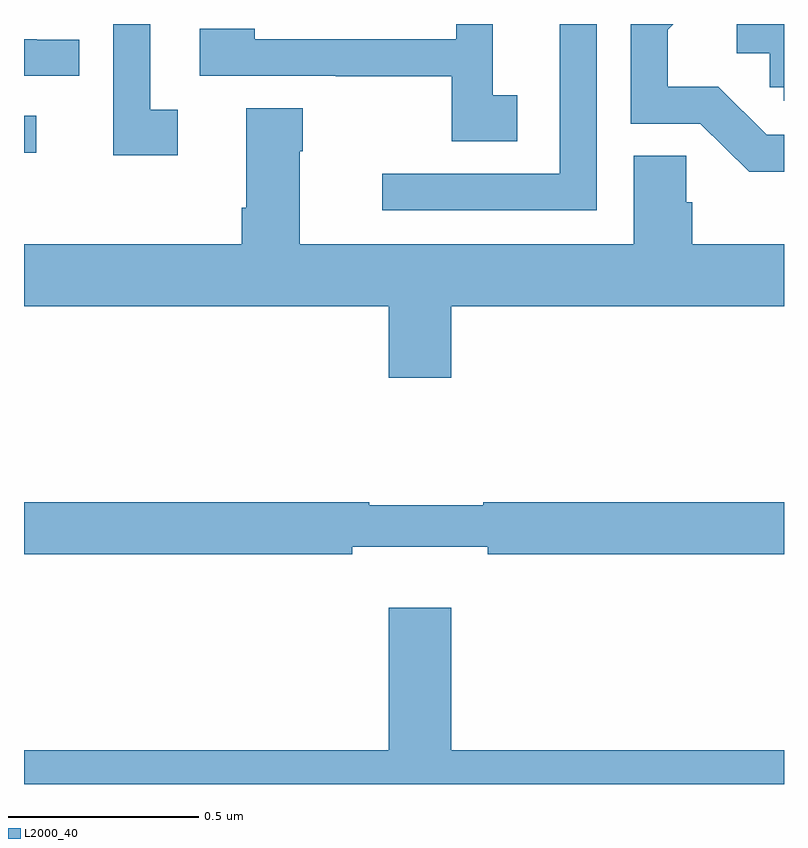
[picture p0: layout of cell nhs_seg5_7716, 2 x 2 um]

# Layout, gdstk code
import gdstk
lib = gdstk.Library(unit=1e-6, precision=1e-09)
def R(c, l, rs):  # rectangles x0, y0, x1, y1
    for r in rs: c.add(gdstk.rectangle(r[:2], r[2:], *l))
def P(c, l, *ps):  # polygons
    for p in ps: c.add(gdstk.Polygon(p, *l))
L2000_40 = (2000, 40)

nhs_seg5_7716 = lib.new_cell('nhs_seg5_7716')
R(nhs_seg5_7716, L2000_40, [(212,894.46,212.032,894.558)])
P(nhs_seg5_7716, L2000_40, [(213.507,894.799),(213.41,894.799),(213.41,894.405),(212.943,894.405),(212.943,894.309),(213.507,894.309)],
  [(213.298,894.612),(213.234,894.612),(213.234,894.799),(213.138,894.799),(213.138,894.759),(212.607,894.759),(212.607,894.787),(212.463,894.787),(212.463,894.663),(212.821,894.663),(212.821,894.661),(213.126,894.661),(213.126,894.49),(213.298,894.49)],
  [(214,894.799),(213.876,894.799),(213.876,894.722),(213.963,894.722),(213.963,894.633),(213.999,894.633),(213.999,894.597),(214,894.597)],
  [(214,894.507),(213.954,894.507),(213.827,894.634),(213.694,894.634),(213.694,894.784),(213.709,894.799),(213.597,894.799),(213.597,894.537),(213.78,894.537),(213.908,894.41),(214,894.41)],
  [(212.404,894.573),(212.332,894.573),(212.332,894.799),(212.235,894.799),(212.235,894.453),(212.404,894.453)],
  [(212.146,894.758),(212.033,894.758),(212.033,894.759),(212,894.759),(212,894.663),(212.146,894.663)],
  [(213.124,894.056),(214,894.056),(214,894.22),(213.758,894.22),(213.758,894.33),(213.743,894.33),(213.743,894.452),(213.605,894.452),(213.605,894.22),(212.725,894.22),(212.725,894.464),(212.733,894.464),(212.733,894.577),(212.585,894.577),(212.585,894.316),(212.573,894.316),(212.573,894.22),(212,894.22),(212,894.056),(212.96,894.056),(212.96,893.868),(213.124,893.868)],
  [(212.864,893.423),(213.22,893.423),(213.22,893.404),(214,893.404),(214,893.54),(213.208,893.54),(213.208,893.533),(212.908,893.533),(212.908,893.54),(212,893.54),(212,893.404),(212.864,893.404)],
  [(214,892.888),(213.124,892.888),(213.124,893.263),(212.96,893.263),(212.96,892.888),(212,892.888),(212,892.799),(214,892.799)])

lib.write_gds('nhs_seg5_7716.gds')
